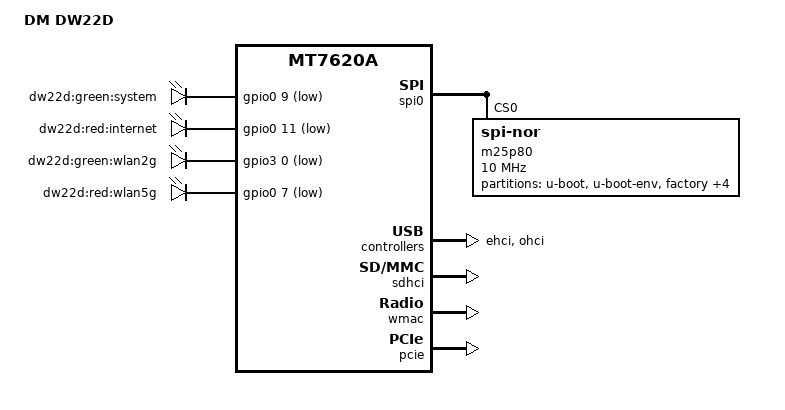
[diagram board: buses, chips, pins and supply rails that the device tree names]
/dts-v1/;

#include "mt7620a.dtsi"
#include <dt-bindings/gpio/gpio.h>
#include <dt-bindings/input/input.h>

/ {
	compatible = "dm,dw22d", "ralink,mt7620a-soc";
	model = "DM DW22D";

	aliases {
		led-boot = &led_system;
		led-failsafe = &led_system;
		led-running = &led_system;
		led-upgrade = &led_system;
	};

	chosen {
		bootargs = "console=ttyS0,115200";
	};

	leds {
		compatible = "gpio-leds";

		led_system: system {
			label = "dw22d:green:system";
			gpios = <&gpio0 9 GPIO_ACTIVE_LOW>;
		};

		internet {
			label = "dw22d:red:internet";
			gpios = <&gpio0 11 GPIO_ACTIVE_LOW>;
		};

		wlan2g {
			label = "dw22d:green:wlan2g";
			gpios = <&gpio3 0 GPIO_ACTIVE_LOW>;
		};

		wlan5g {
			label = "dw22d:red:wlan5g";
			gpios = <&gpio0 7 GPIO_ACTIVE_LOW>;
		};
	};
};

&sysc {
	ralink,gpiomux = "i2c", "jtag";
	ralink,uartmux = "gpio";
	ralink,wdtmux = <1>;
};

&gpio0 {
	status = "okay";
};

&gpio2 {
	status = "okay";
};

&gpio3 {
	status = "okay";
};

&spi0 {
	status = "okay";

	m25p80@0 {
		compatible = "jedec,spi-nor";
		reg = <0>;
		spi-max-frequency = <10000000>;

		partitions {
			compatible = "fixed-partitions";
			#address-cells = <1>;
			#size-cells = <1>;

			partition@0 {
				label = "u-boot";
				reg = <0x0 0x30000>;
				read-only;
			};

			partition@30000 {
				label = "u-boot-env";
				reg = <0x30000 0x10000>;
				read-only;
			};

			factory: partition@40000 {
				label = "factory";
				reg = <0x40000 0x10000>;
				read-only;
			};

			partition@50000 {
				compatible = "denx,uimage";
				label = "firmware";
				reg = <0x50000 0xf80000>;
			};

			partition@fd0000 {
				label = "hwf_config";
				reg = <0xfd0000 0x10000>;
				read-only;
			};

			bdinfo: partition@fe0000 {
				label = "bdinfo";
				reg = <0xfe0000 0x10000>;
				read-only;
			};

			partition@ff0000 {
				label = "backup";
				reg = <0xff0000 0x10000>;
				read-only;
			};
		};
	};
};

&ehci {
	status = "okay";
};

&ohci {
	status = "okay";
};

&sdhci {
	status = "okay";
};

&ethernet {
	pinctrl-names = "default";
	pinctrl-0 = <&ephy_pins>;
	mtd-mac-address = <&factory 0x4>;
	mediatek,portmap = "wllll";
};

&wmac {
	ralink,mtd-eeprom = <&factory 0>;
	pinctrl-names = "default";
	pinctrl-0 = <&pa_pins>;
};

&pcie {
	status = "okay";
};

&pcie0 {
	mt76@0,0 {
		reg = <0x0000 0 0 0 0>;
		mediatek,mtd-eeprom = <&factory 0x8000>;
		ieee80211-freq-limit = <5000000 6000000>;
	};
};

&pinctrl {
	state_default: pinctrl0 {
		gpio {
			ralink,group = "uartf", "wled";
			ralink,function = "gpio";
		};
	};
};
